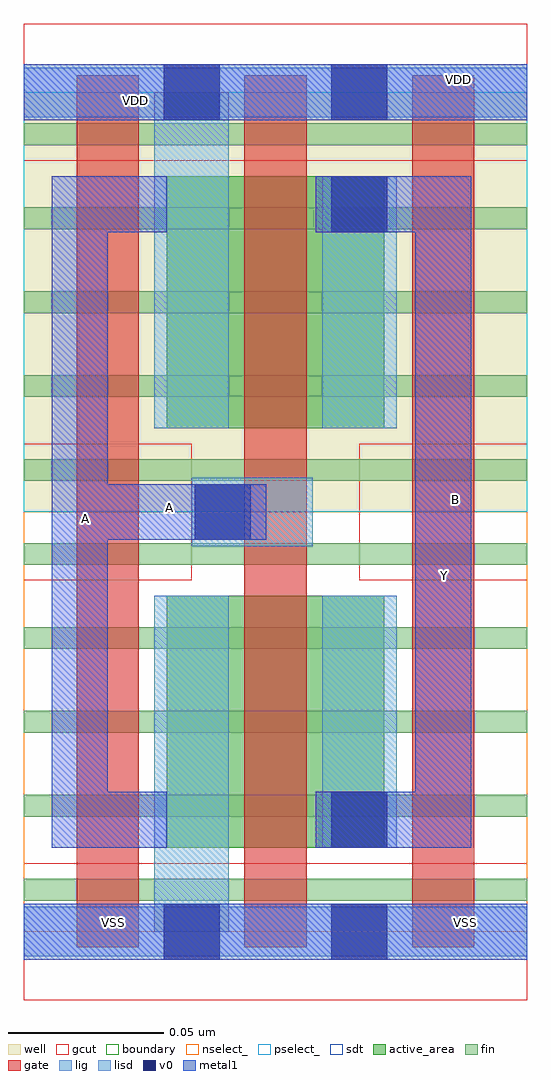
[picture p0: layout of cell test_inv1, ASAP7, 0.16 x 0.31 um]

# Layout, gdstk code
import gdstk
lib = gdstk.Library(unit=1e-6, precision=2.5e-10)
def R(c, l, rs):  # rectangles x0, y0, x1, y1
    for r in rs: c.add(gdstk.rectangle(r[:2], r[2:], *l))
def A(c, l, x, y, w, h, nx, ny, dx, dy):  # array of equal rectangles
    R(c, l, [(x+i*dx, y+j*dy, x+i*dx+w, y+j*dy+h) for i in range(nx) for j in range(ny)])
def P(c, l, *ps):  # polygons
    for p in ps: c.add(gdstk.Polygon(p, *l))
well = (1, 0)
fin = (2, 0)
gate = (7, 0)
gcut = (10, 0)
active_area = (11, 0)
nselect_ = (12, 0)
pselect_ = (13, 0)
lig = (16, 0)
lisd = (17, 0)
v0 = (18, 0)
metal1 = (19, 0)
sdt = (88, 0)
boundary = (100, 0)

test_inv1 = lib.new_cell('test_inv1')
R(test_inv1, well, [(0,0.135,0.162,0.27)])
A(test_inv1, fin, 0, 0.01, 0.162, 0.007, 1, 10, 0, 0.027)
A(test_inv1, gate, 0.017, -0.005, 0.02, 0.2805, 3, 1, 0.054, 0)
R(test_inv1, gcut, [(0,-0.022,0.162,0.022), (0,0.113,0.054,0.157), (0.108,0.113,0.162,0.157), (0,0.248,0.162,0.292)])
R(test_inv1, active_area, [(0.046,0.027,0.116,0.108), (0.046,0.162,0.116,0.243)])
R(test_inv1, nselect_, [(0,0,0.162,0.135)])
R(test_inv1, pselect_, [(0,0.135,0.162,0.27)])
R(test_inv1, lig, [(0,-0.008,0.162,0.008), (0.054,0.124,0.093,0.146), (0,0.262,0.162,0.278)])
R(test_inv1, lisd, [(0.042,0,0.066,0.108), (0.096,0.027,0.12,0.108), (0.042,0.162,0.066,0.27), (0.096,0.162,0.12,0.243)])
R(test_inv1, v0, [(0.045,-0.009,0.063,0.009), (0.099,-0.009,0.117,0.009), (0.099,0.027,0.117,0.045), (0.055,0.126,0.073,0.144), (0.099,0.225,0.117,0.243), (0.045,0.261,0.063,0.279), (0.099,0.261,0.117,0.279)])
R(test_inv1, metal1, [(0,-0.009,0.162,0.009), (0,0.261,0.162,0.279)])
P(test_inv1, metal1, [(0.144,0.243),(0.094,0.243),(0.094,0.225),(0.126,0.225),(0.126,0.045),(0.094,0.045),(0.094,0.027),(0.144,0.027)],
  [(0.078,0.144),(0.027,0.144),(0.027,0.225),(0.046,0.225),(0.046,0.243),(0.009,0.243),(0.009,0.027),(0.046,0.027),(0.046,0.045),(0.027,0.045),(0.027,0.126),(0.078,0.126)])
R(test_inv1, sdt, [(0.042,0.027,0.066,0.108), (0.096,0.027,0.12,0.108), (0.042,0.162,0.066,0.243), (0.096,0.162,0.12,0.243)])
R(test_inv1, boundary, [(0,0,0.162,0.27)])
test_inv1.add(gdstk.Label('B', (0.139,0.139), layer=19, texttype=0))
test_inv1.add(gdstk.Label('A', (0.02,0.133), layer=19, texttype=0))
test_inv1.add(gdstk.Label('VSS', (0.142,0.003), layer=19, texttype=0))
test_inv1.add(gdstk.Label('VDD', (0.14,0.274), layer=19, texttype=0))
test_inv1.add(gdstk.Label('Y', (0.1355,0.1145), layer=19, texttype=251))
test_inv1.add(gdstk.Label('A', (0.047,0.1365), layer=19, texttype=251))
test_inv1.add(gdstk.Label('VDD', (0.036,0.2675), layer=19, texttype=251))
test_inv1.add(gdstk.Label('VSS', (0.029,0.003), layer=19, texttype=251))

lib.write_gds('test_inv1.gds')
